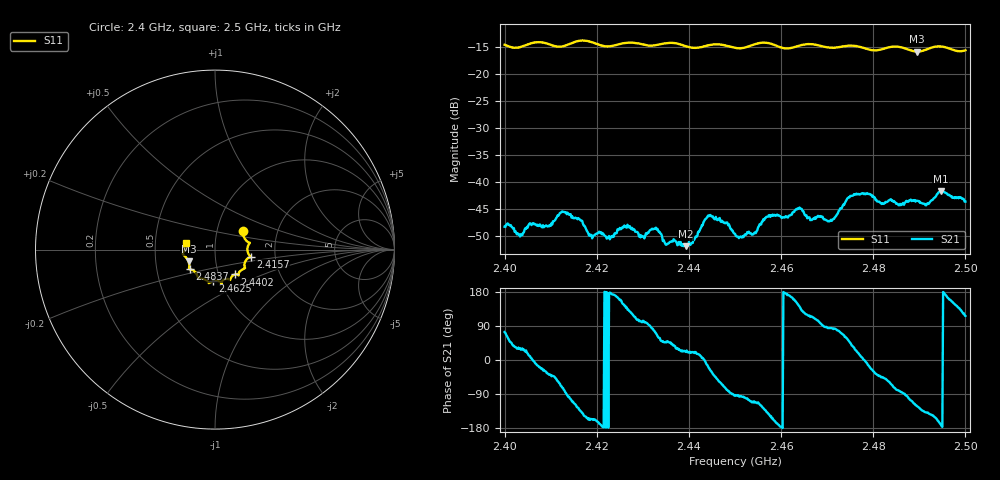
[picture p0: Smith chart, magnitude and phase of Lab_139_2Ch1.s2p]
# Hz S RI R 50
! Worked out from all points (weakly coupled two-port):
!   601 points, 2.4 GHz to 2.5 GHz, reference 50 ohm
!   highest |S21| = -41.73 dB at 2.4947 GHz (marker M1); lowest = -51.9 dB at 2.4393 GHz (marker M2)
!   lowest |S11| = -15.8 dB at 2.4895 GHz (marker M3), VSWR 1.39, Z = 36.8 - j5.01 ohm
!   |S11| at or under -10 dB: start of sweep to end of sweep
!   S12 and S22 are empty: the file has one direction only
!   S11 on the Smith chart (normalised r, x): 2.4 GHz: 1.33, +0.29; 2.4157 GHz: 1.49, -0.12; 2.4402 GHz: 1.20, -0.34; 2.4625 GHz: 0.92, -0.33; 2.4837 GHz: 0.74, -0.17; 2.5 GHz: 0.72, +0.06
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2.4e9  0.1558 0.1046  0.00108 0.00368  0 0  0 0
2.4035e9  0.1706 0.054  0.0029 0.00149  0 0  0 0
2.4125e9  0.1808 -0.00746  0.00156 -0.00508  0 0  0 0
2.415667e9  0.198 -0.039  -0.00256 -0.00376  0 0  0 0
2.416667e9  0.201 -0.042  -0.00319 -0.00299  0 0  0 0
2.418833e9  0.194 -0.0428  -0.00294 -0.00131  0 0  0 0
2.433333e9  0.1319 -0.1338  0.00176 0.00305  0 0  0 0
2.434833e9  0.1309 -0.1421  0.00184 0.00195  0 0  0 0
2.439333e9  0.1186 -0.1376  0.00236 0.000912  0 0  0 0
2.440167e9  0.1116 -0.1384  0.0025 0.000867  0 0  0 0
2.4445e9  0.0855 -0.1655  0.00448 -0.002  0 0  0 0
2.45e9  0.0639 -0.1636  -0.000146 -0.00329  0 0  0 0
2.4625e9  -0.0115 -0.1761  -0.00501 0.00146  0 0  0 0
2.466667e9  -0.0345 -0.1866  -0.00185 0.00402  0 0  0 0
2.471e9  -0.0591 -0.1657  0.000451 0.00432  0 0  0 0
2.476333e9  -0.0947 -0.1557  0.0071 0.0032  0 0  0 0
2.483333e9  -0.139 -0.1099  0.00369 -0.00562  0 0  0 0
2.483667e9  -0.1409 -0.1097  0.00332 -0.00597  0 0  0 0
2.4895e9  -0.1476 -0.0662  -0.00352 -0.00567  0 0  0 0
2.491833e9  -0.1668 -0.0378  -0.00476 -0.00419  0 0  0 0
2.494667e9  -0.1794 -0.0209  -0.00808 -0.00139  0 0  0 0
2.5e9  -0.1616 0.0394  -0.00289 0.00588  0 0  0 0
